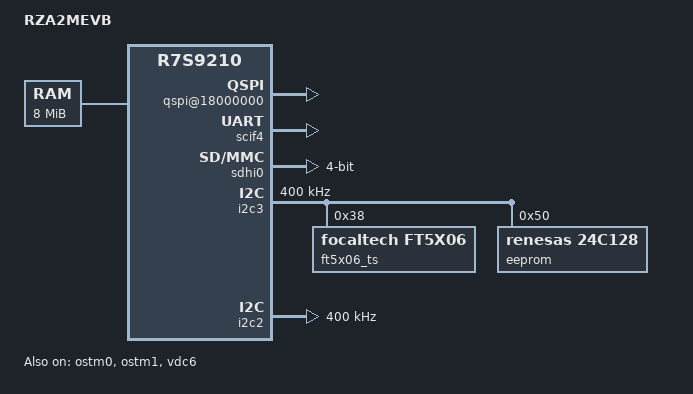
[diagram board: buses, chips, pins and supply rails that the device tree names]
// SPDX-License-Identifier: GPL-2.0 OR MIT
/*
 * Device Tree Source for the RZA2MEVB board
 *
 * Copyright (C) 2018 Renesas Electronics
 *
 * This file is dual-licensed
 */

/dts-v1/;
#include "r7s9210.dtsi"
#include <dt-bindings/gpio/gpio.h>
#include <dt-bindings/pinctrl/r7s9210-pinctrl.h>

/ {
	model = "RZA2MEVB";
	compatible = "renesas,rza2mevb", "renesas,r7s9210";

	aliases {
		/* It is recommended to always map the serial console as /dev/ttySC0
		 * in you system regardless of the actual SCIF channel used */
		serial0 = &scif4;
	};

	chosen {
		/* Keep extra spaces at the end in case you want to add additional command line options from u-boot */
		bootargs = "ignore_loglevel earlycon rootfstype=axfs root=/dev/null rootflags=physaddr=0x20800000                   ";
		stdout-path = "serial0:115200n8";
	};

	memory@80000000 {
		device_type = "memory";
		//reg = <0x80000000 0x00400000>;	 /* 4Mbyte of Internal RAM only */
		reg = <0x40000000 0x00800000>;	 /* 8Mbyte of HyperRAM only */
	};

	lbsc {
		#address-cells = <1>;
		#size-cells = <1>;
	};

#if 1 /* Read Only File system in QSPI Example */
	/* File System in XIP QSPI */
	/* Remember, we'll be in QSPI XIP mode at this point */
	/* Requires CONFIG_MTD_ROM=y */
	qspi@18000000 {
		compatible = "mtd-rom";
		//probe-type = "map_rom";
		probe-type = "direct-mapped";	// XIP from QSPI
		reg = <0x20000000 0x4000000>;	/* 64 MB*/
		bank-width = <4>;
		device-width = <1>;

		#address-cells = <1>;
		#size-cells = <1>;

		partition@800000 {
			label ="rootfs_xipcramfs";
			reg = <0x0800000 0x1000000>; /* 16MB @ 0x20800000 */
			read-only;
		};
	};
#endif

#if 0
	drp: drp@ea000000 {
		compatible = "renesas,r7s9210-drp";
		reg = <0xea000000 0x1000000>;
		interrupts = <GIC_SPI 415 IRQ_TYPE_LEVEL_HIGH>;
		clock = <&cpg CPG_MOD 90>;
		clock-names = "drp";
		power-domains = <&cpg>;
		status = "okay";
	};
#endif
};

/* EXTAL */
&extal_clk {
	clock-frequency = <24000000>;	/* 24MHz */
};

/* RTC_X1 (remove if not populated) */
&rtc_x1_clk {
	clock-frequency = <32768>;
};

/* High resolution System tick timers */
&ostm0 {
	status = "okay";
};

&ostm1 {
	status = "okay";
};

/*
 * Define your pin settings here
 *
 */
&pinctrl {

	/* Serial Console */
	scif4_pins: serial4 {
		pinmux = <RZA2_PINMUX(PORT9, 0, 4)>,	/* TxD4 */
			 <RZA2_PINMUX(PORT9, 1, 4)>;	/* RxD4 */
	};

	/* RIIC ch2 (MIPI camera) */
	i2c2_pins: i2c2 {
		pinmux = <RZA2_PINMUX(PORTD, 4, 1)>,	/* RIIC2SCL */
			 <RZA2_PINMUX(PORTD, 5, 1)>;	/* RIIC2SDA */
	};
	
	/* RIIC ch3 (Touchscreen, EEPROM, CEU) */
	i2c3_pins: i2c3 {
		pinmux = <RZA2_PINMUX(PORTD, 6, 1)>,	/* RIIC3SCL */
			 <RZA2_PINMUX(PORTD, 7, 1)>	/* RIIC3SDA */
#if 1
			/* include CEU pin setup here */
			/* switch SW6-4 = OFF  (Ether #1 cannot be used, but Ether #2 is OK) */
			 ,<RZA2_PINMUX(PORT6, 2, 2)>,	/* VIO_VD */
			 <RZA2_PINMUX(PORT6, 1, 2)>,	/* VIO_CLK */
			 <RZA2_PINMUX(PORTE, 1, 2)>,	/* VIO_D7 */
			 <RZA2_PINMUX(PORTE, 3, 2)>,	/* VIO_D5 */
			 <RZA2_PINMUX(PORTE, 5, 2)>,	/* VIO_D3 */
			 <RZA2_PINMUX(PORTH, 0, 2)>,	/* VIO_D1 */
			 <RZA2_PINMUX(PORTG, 4, 2)>,	/* VIO_D15 */
			 <RZA2_PINMUX(PORTG, 6, 2)>,	/* VIO_D13 */
			 <RZA2_PINMUX(PORTG, 3, 2)>,	/* VIO_D11 */
			 <RZA2_PINMUX(PORTG, 1, 2)>,	/* VIO_D9 */
			 <RZA2_PINMUX(PORT6, 3, 2)>,	/* VIO_HD */
			 <RZA2_PINMUX(PORTE, 2, 2)>,	/* VIO_D6 */
			 <RZA2_PINMUX(PORTE, 4, 2)>,	/* VIO_D4 */
			 <RZA2_PINMUX(PORTE, 6, 2)>,	/* VIO_D2 */
			 <RZA2_PINMUX(PORTH, 1, 2)>,	/* VIO_D0 */
			 <RZA2_PINMUX(PORTE, 0, 2)>,	/* VIO_FLD */
			 <RZA2_PINMUX(PORTG, 5, 2)>,	/* VIO_D14 */
			 <RZA2_PINMUX(PORTG, 7, 2)>,	/* VIO_D12 */
			 <RZA2_PINMUX(PORTG, 2, 2)>,	/* VIO_D10 */
			 <RZA2_PINMUX(PORTG, 0, 2)>	/* VIO_D8 */
#endif
		;	


	};

	/* RSPI ch3 (EEPROM) */
	spi0_pins: spi0 {
		pinmux = <RZA2_PINMUX(PORT8, 5, 4)>,	/* MISO0 */
			 <RZA2_PINMUX(PORT8, 6, 4)>,	/* MOSI0 */
			 <RZA2_PINMUX(PORT8, 7, 4)>,	/* CLK0 */
			 <RZA2_PINMUX(PORT8, 4, 4)>;	/* SSL0 */
	};

	/* SDHI 0 */
	sdhi0_pins: sdhi0 {
		pinmux = <RZA2_PINMUX(PORT5, 0, 3)>,	/* SD0_CD */
			 <RZA2_PINMUX(PORT5, 1, 3)>;	/* SD0_WP */
	};

	/* IRQ3 (Touchscreen) */
	irq3_pins: irq3 {
		pinmux = <RZA2_PINMUX(PORT5, 7, 2)>;	/* IRQ3 */
	};

	/* VDC LCD */
	vdc6_pins: vdc6 {
		pinmux =
#if 1 /* Parallel Interface */
			<RZA2_PINMUX(PORTF, 7, 3)>, // LCD0_DATA0
			<RZA2_PINMUX(PORTH, 2, 3)>, // LCD0_DATA1
			<RZA2_PINMUX(PORTF, 6, 3)>, // LCD0_DATA2
			<RZA2_PINMUX(PORTF, 5, 3)>, // LCD0_DATA3
			<RZA2_PINMUX(PORTF, 4, 3)>, // LCD0_DATA4
			<RZA2_PINMUX(PORTF, 3, 3)>, // LCD0_DATA5
			<RZA2_PINMUX(PORTF, 2, 3)>, // LCD0_DATA6
			<RZA2_PINMUX(PORTF, 1, 3)>, // LCD0_DATA7
			<RZA2_PINMUX(PORTF, 0, 3)>, // LCD0_DATA8
			<RZA2_PINMUX(PORT8, 0, 3)>, // LCD0_DATA9
			<RZA2_PINMUX(PORTA, 0, 3)>, // LCD0_DATA10
			<RZA2_PINMUX(PORTA, 1, 3)>, // LCD0_DATA11
			<RZA2_PINMUX(PORTA, 2, 3)>, // LCD0_DATA12
			<RZA2_PINMUX(PORTA, 3, 3)>, // LCD0_DATA13
			<RZA2_PINMUX(PORTA, 4, 3)>, // LCD0_DATA14
			<RZA2_PINMUX(PORTA, 5, 3)>, // LCD0_DATA15
			<RZA2_PINMUX(PORTA, 6, 3)>, // LCD0_DATA16
			<RZA2_PINMUX(PORTA, 7, 3)>, // LCD0_DATA17
			<RZA2_PINMUX(PORTB, 0, 3)>, // LCD0_DATA18
			<RZA2_PINMUX(PORTB, 1, 3)>, // LCD0_DATA19
			<RZA2_PINMUX(PORTB, 2, 3)>, // LCD0_DATA20
			<RZA2_PINMUX(PORTB, 3, 3)>, // LCD0_DATA21
			<RZA2_PINMUX(PORTB, 4, 3)>, // LCD0_DATA22
			<RZA2_PINMUX(PORTB, 5, 3)>, // LCD0_DATA23
			<RZA2_PINMUX(PORT7, 7, 3)>, // LCD0_TCON0
			<RZA2_PINMUX(PORT7, 6, 3)>, // LCD0_TCON1
		//	<RZA2_PINMUX(PORTC, 5, 5)>, // LCD0_TCON2	/* not used on this board */
			<RZA2_PINMUX(PORTC, 4, 5)>, // LCD0_TCON3
			<RZA2_PINMUX(PORTC, 3, 5)>, // LCD0_TCON4
		//	<RZA2_PINMUX(PORTC, 2, 5)>, // LCD0_TCON5	/* not used on this board */
		//	<RZA2_PINMUX(PORTC, 1, 5)>, // LCD0_TCON6	/* not used on this board */
			<RZA2_PINMUX(PORTJ, 6, 3)>; // LCD0_CLK
#else /* LVDS Interface  */
			<RZA2_PINMUX(PORT4, 0, 2)>, // TXOUT0P
			<RZA2_PINMUX(PORT4, 1, 2)>, // TXOUT0M
			<RZA2_PINMUX(PORT4, 2, 2)>, // TXOUT1P
			<RZA2_PINMUX(PORT4, 3, 2)>, // TXOUT1M
			<RZA2_PINMUX(PORT4, 4, 2)>, // TXOUT2P
			<RZA2_PINMUX(PORT4, 5, 2)>, // TXOUT2M
			<RZA2_PINMUX(PORT4, 6, 2)>, // TXCLKOUTP
			<RZA2_PINMUX(PORT4, 7, 2)>; // TXCLKOUTM
#endif
	};
};

/* Serial Console */
&scif4 {
	pinctrl-names = "default";
	pinctrl-0 = <&scif4_pins>;

	//uart-has-rtscts;	/* uncomment to use RTS/CTS, but you will also need to set up the pins */
	status = "okay";
};

&sdhi0 {
        pinctrl-names = "default";
	pinctrl-0 = <&sdhi0_pins>;
        bus-width = <4>;
        status = "okay";
	disable-wp;
};

/* RIIC3 (Touchscreen, EEPROM, CEU) */
&i2c3 {
	pinctrl-names = "default";
	pinctrl-0 = <&i2c3_pins>;

	status = "okay";
	clock-frequency = <400000>;

	ft5x06_ts@38 {
		compatible = "focaltech,ft5x06";
		reg = <0x38>;

		pinctrl-names = "default";
		pinctrl-0 = <&irq3_pins>;
		interrupts = <GIC_SPI (39-32) IRQ_TYPE_LEVEL_LOW>; /* IRQ3 */

		touchscreen-size-x = <800>;
		touchscreen-size-y = <480>;

		/* The touchscreen on the RSK LCD is backwards for some reason */
		touchscreen-inverted-x;
		touchscreen-inverted-y;
	};

	/* Renesas R1EX24128 EEPROM */
	/* 'eeprom' will show up under:
	 * /sys/bus/i2c/devices/3-0050/
	 */
        eeprom@50 {
                compatible = "renesas,24c128", "atmel,24c128";
                reg = <0x50>;
                pagesize = <64>;
        };
};


/* RIIC2 (MIPI Camera) */
&i2c2 {
	pinctrl-names = "default";
	pinctrl-0 = <&i2c2_pins>;

	status = "okay";
	clock-frequency = <400000>;
};

/* ========== LCD 24-bit Parallel Interface ========== */
#if 1

/* 800x480 RSK LCD - 24-bit Parallel Interface */

/* Pacer TFT LCD Panel, Model gwp0700cnwv04 */
#define XIP_KERNEL_WITHOUT_EXTERNAL_RAM 0
#if XIP_KERNEL_WITHOUT_EXTERNAL_RAM
  #define VDC6_BPP 16 /* 16bpp or 32bpp */
  #define VDC6_FBSIZE (480*272*VDC6_BPP/8)	/* Emulated WQVGA screen */
  #define VDC6_FB_ADDR 0	/* allocate memory at probe */
#else
  #define VDC6_BPP 16 /* 16bpp or 32bpp */
  #define VDC6_FBSIZE (800*480*VDC6_BPP/8)
  #define VDC6_FB_ADDR (0x80000000) /* fixed address in PAGE 0 */
#endif

/* VDC6 */
/* RSK LCD: 800x600 LCD */
/* Pacer TFT LCD Panel, Model gwp0700cnwv04 */
/* Parallel IF */
&vdc6 {
	pinctrl-names = "default";
	pinctrl-0 = <&vdc6_pins>;

	display = <&display0>;
	status = "okay";

	/* Set the physical frame buffer address for internal RAM. */
	fb_phys_addr = <VDC6_FB_ADDR>;
	fb_phys_size = <VDC6_FBSIZE>;

	panel_name = "gwp0700cnwv04";
	panel_pixel_xres = <800>;	/* panel native resolution */
	panel_pixel_yres = <480>;	/* panel native resolution */


	/* See 'drivers/video/fbdev/renesas/vdc5fb.h' for valid choices
	* for panel_icksel, panel_ocksel, and out_format */
	panel_icksel = <3>;	/* 3=ICKSEL_P1CLK (Peripheral clock 1) */
	panel_ocksel = <0>;	/* (don't care when lvds=0 ) */
	out_format = <0>;	/* 0=OUT_FORMAT_RGB888 */
	use_lvds = <0>;		/* Set to 0 or 1 */

	/* How are the TCON pins going to be used */
	tcon_sel = <
		0	/* TCON0:    0=TCON_SEL_STVA (VSYNC) */
		0xff	/* TCON1: 0xff=TCON_SEL_UNUSED */
		0xff	/* TCON2: 0xff=TCON_SEL_UNUSED */
		2	/* TCON3:    2=TCON_SEL_STH (HSYNC) */
		7	/* TCON4:    7=TCON_SEL_DE (DATA ENABLE) */
		0xff	/* TCON5: 0xff=TCON_SEL_UNUSED */
		0xff	/* TCON6: 0xff=TCON_SEL_UNUSED */
		>;

	display0: display0 {
		bits-per-pixel = <VDC6_BPP>;
		bus-width = <24>;

		display-timings {
			native-mode = <&timing0>;
			timing0: timing0 {
				clock-frequency = <33000000>; /* P1 clk / 2 */
#if XIP_KERNEL_WITHOUT_EXTERNAL_RAM
				hactive = <480>;
				vactive = <272>;
#else
				hactive = <800>;
				vactive = <480>;
#endif
				hback-porch = <26>;		/* back porch = 'HS Blanking'(46) - hsync-len(20) */
				hfront-porch = <210>;		/* 'HS Front Porch (210)' */
				vback-porch = <13>;		/* back porch = 'VS Blanking'(23) - vsync-len(10) */
				vfront-porch = <22>;		/* 'VS Front Porch(22)' */
				hsync-len = <20>;		/* pulse width of HSYNC (min=1, max=40) */
				vsync-len = <10>;		/* pulse width of VSYNC (min=1, max=20) */
				hsync-active = <1>; 		/* HSYNC pulse is: 0=Active LOW, 1=Active HIGH */
				vsync-active = <1>; 		/* VSYNC pulse is: 0=Active LOW, 1=Active HIGH */
				de-active = <0>; 		/* Data Enable signal is: 0=Active LOW , 1= Active HIGH */
				pixelclk-active = <0>; 		/* Pixel Data clocked on: 0=Negative clock edge */
			};
		};
	};
};
#endif /* Parallel LCD */


/* ========== LCD LVDS Interface Example ========== */
#if 0

/* LVDS Panel: HSD070PWW1 -B01 | 1280x800 (WXVGA), 7", LVDS, 16bpp */
/* LVDS IF */
#define VDC6_BPP 16
#define VDC6_FBSIZE (1280*800*VDC6_BPP/8)
#define VDC6_FB_ADDR (0x80000000) /* fixed address in PAGE 0 */

&vdc6 {
	pinctrl-names = "default";
	pinctrl-0 = <&vdc6_pins>;

	display = <&display0>;
	status = "okay";

	/* Set the physical frame buffer address for internal RAM. */
	fb_phys_addr = <VDC6_FB_ADDR>;
	fb_phys_size = <VDC6_FBSIZE>;

	panel_name = "HSD070PWW1";
	panel_pixel_xres = <1280>;	/* panel native resolution */
	panel_pixel_yres = <800>;	/* panel native resolution */

	/* See 'drivers/video/fbdev/renesas/vdc5fb.h' for valid choices
	* for panel_icksel, panel_ocksel, and out_format */
	panel_icksel = <0>;	/* (don't care when lvds=1) */
	panel_ocksel = <2>;	/* 2=OCKSEL_PLL_DIV7 (LVDS PLL clock divided by 7) */
	out_format = <0>;	/* 0=OUT_FORMAT_RGB888 */
	use_lvds = <1>;		/* Set to 0 or 1 */

	/* How are the TCON pins going to be used */
	tcon_sel = <
		0xff	/* TCON0: 0xff=TCON_SEL_UNUSED */
		0xff	/* TCON1: 0xff=TCON_SEL_UNUSED */
		0xff	/* TCON2: 0xff=TCON_SEL_UNUSED */
		7	/* TCON3:    7=TCON_SEL_DE (DATA ENABLE) */
		0xff	/* TCON4: 0xff=TCON_SEL_UNUSED */
		0xff	/* TCON5: 0xff=TCON_SEL_UNUSED */
		0xff	/* TCON6: 0xff=TCON_SEL_UNUSED */
		>;

	display0: display0 {
		bits-per-pixel = <VDC6_BPP>;		/* Set to 16 or 32 */
		bus-width = <16>;

		display-timings {
			native-mode = <&timing0>;
			timing0: timing0 {
				clock-frequency = <71100000>; /* min:64.3MHz, typ:71.1MHz, max:82MHz */
				hactive = <1280>;
				vactive = <800>;
				hback-porch = <16>;
				hfront-porch = <16>;
				vback-porch = <24>;
				vfront-porch = <1>;
				hsync-len = <136>; /* max */
				vsync-len = <3>; /* max */
				hsync-active = <1>; /* HIGH */
				vsync-active = <1>; /* HIGH */
				de-active = <0>; /* LOW */
				pixelclk-active = <0>; /* ??? */
			};
		};
	};
};
#endif /* LVDS */


